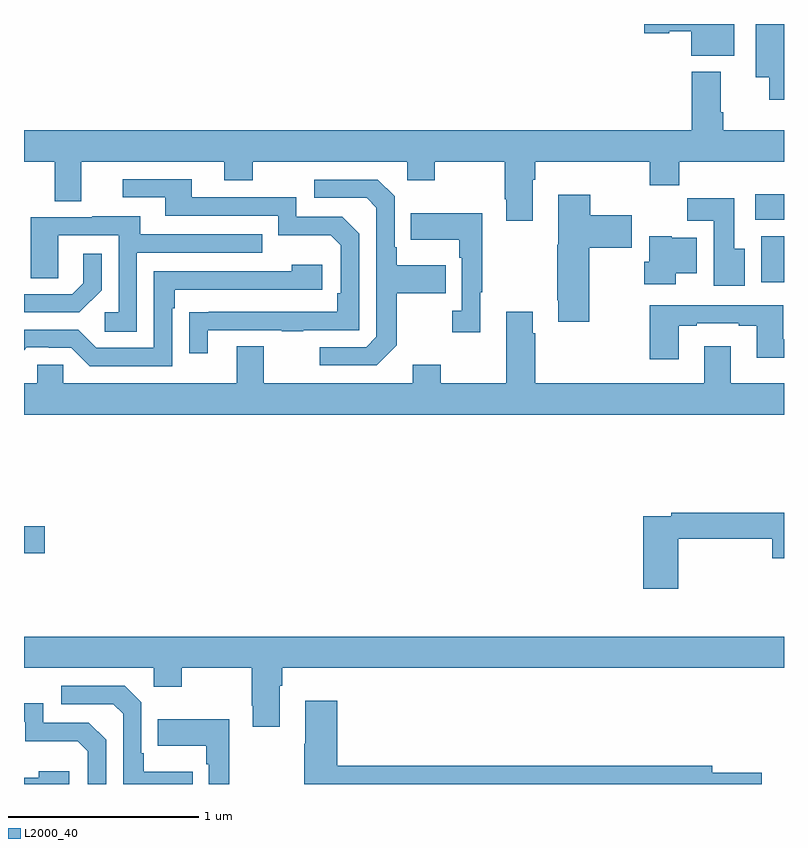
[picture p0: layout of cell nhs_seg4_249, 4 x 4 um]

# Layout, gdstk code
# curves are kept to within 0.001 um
import gdstk
lib = gdstk.Library(unit=1e-6, precision=1e-09)
def R(c, l, rs):  # rectangles x0, y0, x1, y1
    for r in rs: c.add(gdstk.rectangle(r[:2], r[2:], *l))
def P(c, l, *ps):  # polygons
    for p in ps: c.add(gdstk.Polygon(p, *l))
L2000_40 = (2000, 40)

nhs_seg4_249 = lib.new_cell('nhs_seg4_249')
R(nhs_seg4_249, L2000_40, [(123,772.114,123.109,772.256), (126.881,773.54,127,773.782), (126.849,773.87,127,774.004)])
P(nhs_seg4_249, L2000_40, [(127,774.898),(126.973,774.898),(126.973,774.9),(126.851,774.9),(126.851,774.62),(126.923,774.62),(126.923,774.501),(127,774.501)],
  [(126.739,774.9),(126.264,774.9),(126.264,774.851),(126.396,774.851),(126.396,774.863),(126.512,774.863),(126.512,774.734),(126.739,774.734)],
  [(125.677,774.08),(125.69,774.08),(125.69,774.176),(126.293,774.176),(126.293,774.052),(126.449,774.052),(126.449,774.176),(127,774.176),(127,774.34),(126.68,774.34),(126.68,774.436),(126.667,774.436),(126.667,774.649),(126.515,774.649),(126.515,774.34),(123,774.34),(123,774.176),(123.161,774.176),(123.161,773.968),(123.301,773.968),(123.301,774.176),(124.055,774.176),(124.055,774.077),(124.203,774.077),(124.203,774.176),(125.016,774.176),(125.016,774.077),(125.163,774.077),(125.163,774.176),(125.53,774.176),(125.53,773.977),(125.537,773.977),(125.537,773.865),(125.677,773.865)],
  [(123.967,773.289),(124.357,773.289),(124.357,773.284),(124.469,773.284),(124.469,773.289),(124.764,773.289),(124.764,773.796),(124.674,773.886),(124.434,773.886),(124.434,773.988),(123.883,773.988),(123.883,774.084),(123.519,774.084),(123.519,773.988),(123.743,773.988),(123.743,773.892),(124.338,773.892),(124.338,773.789),(124.615,773.789),(124.668,773.736),(124.668,773.482),(124.648,773.482),(124.648,773.385),(123.871,773.384),(123.871,773.166),(123.967,773.166)],
  [(124.963,773.209),(124.963,773.482),(125.219,773.482),(125.219,773.629),(124.963,773.629),(124.963,773.725),(124.95,773.725),(124.95,773.994),(124.863,774.081),(124.527,774.081),(124.527,773.985),(124.803,773.985),(124.854,773.934),(124.854,773.253),(124.8,773.199),(124.557,773.199),(124.557,773.103),(124.857,773.103)],
  [(125.976,773.723),(126.199,773.723),(126.199,773.893),(125.981,773.893),(125.981,774.001),(125.813,774.001),(125.813,773.739),(125.806,773.739),(125.806,773.446),(125.813,773.446),(125.813,773.334),(125.976,773.334)],
  [(126.793,773.716),(126.739,773.716),(126.739,773.983),(126.49,773.983),(126.49,773.864),(126.629,773.864),(126.629,773.523),(126.793,773.523)],
  [(125.401,773.489),(125.413,773.489),(125.413,773.905),(125.035,773.905),(125.035,773.765),(125.292,773.765),(125.292,773.669),(125.304,773.669),(125.304,773.39),(125.253,773.39),(125.253,773.277),(125.401,773.277)],
  [(123.594,773.697),(124.253,773.697),(124.253,773.793),(123.613,773.793),(123.613,773.887),(123.359,773.887),(123.359,773.883),(123.035,773.883),(123.035,773.563),(123.18,773.563),(123.18,773.787),(123.498,773.787),(123.498,773.382),(123.426,773.382),(123.426,773.281),(123.594,773.281)],
  [(126.43,773.588),(126.541,773.588),(126.541,773.776),(126.408,773.776),(126.408,773.782),(126.29,773.782),(126.29,773.649),(126.265,773.649),(126.265,773.531),(126.43,773.531)],
  [(123.408,773.498),(123.408,773.692),(123.311,773.692),(123.311,773.535),(123.254,773.478),(123,773.478),(123,773.382),(123.292,773.382)],
  [(123.78,773.405),(123.793,773.405),(123.793,773.502),(124.57,773.502),(124.57,773.632),(124.409,773.632),(124.409,773.598),(123.684,773.598),(123.684,773.196),(123.381,773.196),(123.285,773.292),(123,773.292),(123,773.184),(123.015,773.199),(123.131,773.199),(123.131,773.196),(123.249,773.196),(123.345,773.1),(123.78,773.1)],
  [(126.445,773.313),(126.541,773.313),(126.541,773.325),(126.761,773.325),(126.761,773.313),(126.857,773.313),(126.857,773.144),(127,773.144),(127,773.241),(126.997,773.241),(126.997,773.421),(126.293,773.421),(126.293,773.136),(126.445,773.136)],
  [(123.069,773.106),(123.069,773.008),(123,773.008),(123,772.844),(127,772.844),(127,773.008),(126.721,773.008),(126.721,773.203),(126.581,773.203),(126.581,773.008),(125.69,773.008),(125.69,773.273),(125.677,773.273),(125.677,773.386),(125.537,773.386),(125.537,773.008),(125.193,773.008),(125.193,773.107),(125.045,773.107),(125.045,773.008),(124.261,773.008),(124.261,773.203),(124.121,773.203),(124.121,773.008),(123.207,773.008),(123.207,773.106)],
  [(126.443,772.192),(126.938,772.192),(126.938,772.088),(127,772.088),(127,772.328),(126.406,772.328),(126.406,772.308),(126.26,772.308),(126.26,771.927),(126.443,771.927)],
  [(124.345,771.416),(124.358,771.416),(124.358,771.512),(127,771.512),(127,771.676),(123,771.676),(123,771.512),(123.684,771.512),(123.684,771.413),(123.831,771.413),(123.831,771.512),(124.198,771.512),(124.198,771.313),(124.205,771.313),(124.205,771.201),(124.345,771.201)],
  [(123.887,770.965),(123.631,770.965),(123.631,771.061),(123.618,771.061),(123.618,771.33),(123.531,771.417),(123.195,771.417),(123.195,771.321),(123.471,771.321),(123.522,771.27),(123.522,770.9),(123.887,770.9)],
  [(126.883,770.96),(126.622,770.96),(126.622,770.996),(124.649,770.996),(124.649,771.337),(124.481,771.337),(124.481,771.113),(124.474,771.113),(124.474,770.9),(126.883,770.9)],
  [(123.432,771.132),(123.342,771.222),(123.102,771.222),(123.102,771.324),(123,771.324),(123,771.228),(123.006,771.228),(123.006,771.125),(123.283,771.125),(123.336,771.072),(123.336,770.9),(123.432,770.9)],
  [(124.081,771.241),(123.703,771.241),(123.703,771.101),(123.96,771.101),(123.96,771.005),(123.972,771.005),(123.972,770.9),(124.081,770.9)],
  [(123.238,770.968),(123.077,770.968),(123.077,770.934),(123,770.934),(123,770.9),(123.238,770.9)])

lib.write_gds('nhs_seg4_249.gds')
